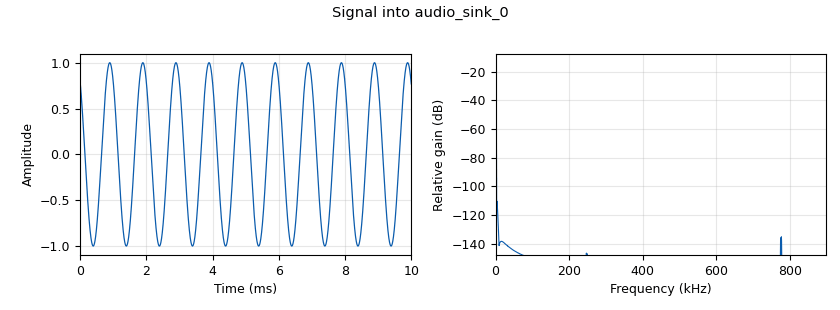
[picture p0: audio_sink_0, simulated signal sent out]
options:
  parameters:
    author: anton
    generate_options: qt_gui
    id: Testsdr
    output_language: python
    title: TestSDR
  states: {}

blocks:
- name: samp_rate
  id: variable
  parameters:
    value: '1800000'
  states: {}
- name: analog_sig_source_x_0
  id: analog_sig_source_x
  parameters:
    amp: '1'
    freq: '1000'
    offset: '0'
    phase: '0'
    samp_rate: samp_rate
    type: float
    waveform: analog.GR_COS_WAVE
  states: {}
- name: audio_sink_0
  id: audio_sink
  parameters:
    device_name: hw:1,0,2
    samp_rate: samp_rate
  states: {}
- name: audio_source_0
  id: audio_source
  parameters:
    device_name: hw:1,1,2
    samp_rate: samp_rate
  states: {}
- name: qtgui_time_sink_x_0
  id: qtgui_time_sink_x
  parameters:
    size: '1024'
    srate: samp_rate
    type: float
  states: {}

connections:
- [analog_sig_source_x_0, '0', audio_sink_0, '0']
- [audio_source_0, '0', qtgui_time_sink_x_0, '0']

metadata:
  file_format: 1
